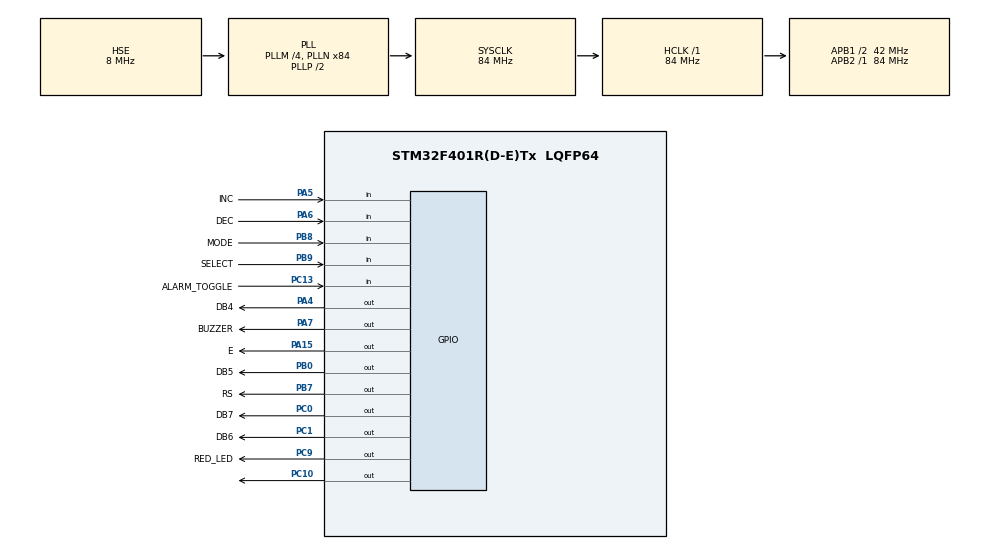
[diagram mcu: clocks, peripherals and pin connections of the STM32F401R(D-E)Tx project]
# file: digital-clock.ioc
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Mcu.Family=STM32F4
Mcu.Name=STM32F401R(D-E)Tx
Mcu.Package=LQFP64
NVIC.PriorityGroup=NVIC_PRIORITYGROUP_4
NVIC.RTC_Alarm_IRQn=true\:15\:0\:true\:false\:true\:true\:true\:true
NVIC.TIM5_IRQn=true\:0\:0\:false\:false\:true\:false\:true\:true
NVIC.TimeBase=TIM5_IRQn
NVIC.TimeBaseIP=TIM5
PA13.GPIO_Label=TMS
PA13.Signal=SYS_JTMS-SWDIO
PA14.GPIO_Label=TCK
PA14.Signal=SYS_JTCK-SWCLK
PA15.GPIO_Label=E
PA15.GPIO_PuPd=GPIO_PULLDOWN
PA15.Signal=GPIO_Output
PA2.GPIO_Label=USART_TX
PA2.GPIO_Mode=GPIO_MODE_AF_PP
PA2.GPIO_PuPd=GPIO_NOPULL
PA2.GPIO_Speed=GPIO_SPEED_FREQ_LOW
PA2.Signal=USART2_TX
PA3.GPIO_Label=USART_RX
PA3.GPIO_Mode=GPIO_MODE_AF_PP
PA3.GPIO_PuPd=GPIO_NOPULL
PA3.GPIO_Speed=GPIO_SPEED_FREQ_LOW
PA3.Signal=USART2_RX
PA4.GPIO_Label=DB4
PA4.GPIO_PuPd=GPIO_PULLDOWN
PA4.Signal=GPIO_Output
PA5.GPIO_Label=INC
PA5.GPIO_PuPd=GPIO_PULLDOWN
PA5.Signal=GPIO_Input
PA6.GPIO_Label=DEC
PA6.GPIO_PuPd=GPIO_PULLDOWN
PA6.Signal=GPIO_Input
PA7.GPIO_Label=BUZZER
PA7.GPIO_PuPd=GPIO_PULLDOWN
PA7.Signal=GPIO_Output
PB0.GPIO_Label=DB5
PB0.GPIO_PuPd=GPIO_PULLDOWN
PB0.Signal=GPIO_Output
PB3.GPIO_Label=SWO
PB3.Signal=SYS_JTDO-SWO
PB7.GPIO_Label=RS
PB7.GPIO_PuPd=GPIO_PULLDOWN
PB7.Signal=GPIO_Output
PB8.GPIO_Label=MODE
PB8.GPIO_PuPd=GPIO_PULLDOWN
PB8.Signal=GPIO_Input
PB9.GPIO_Label=SELECT
PB9.GPIO_PuPd=GPIO_PULLDOWN
PB9.Signal=GPIO_Input
PC0.GPIO_Label=DB7
PC0.GPIO_PuPd=GPIO_PULLDOWN
PC0.Signal=GPIO_Output
PC1.GPIO_Label=DB6
PC1.GPIO_PuPd=GPIO_PULLDOWN
PC1.Signal=GPIO_Output
PC10.GPIO_PuPd=GPIO_PULLDOWN
PC10.Signal=GPIO_Output
PC13-ANTI_TAMP.GPIO_Label=ALARM_TOGGLE
PC13-ANTI_TAMP.GPIO_PuPd=GPIO_PULLDOWN
PC13-ANTI_TAMP.Signal=GPIO_Input
PC14-OSC32_IN.Mode=LSE-External-Oscillator
PC14-OSC32_IN.Signal=RCC_OSC32_IN
PC15-OSC32_OUT.Mode=LSE-External-Oscillator
PC15-OSC32_OUT.Signal=RCC_OSC32_OUT
PC9.GPIO_Label=RED_LED
PC9.GPIO_ModeDefaultOutputPP=GPIO_MODE_OUTPUT_PP
PC9.GPIO_PuPd=GPIO_PULLDOWN
PC9.Signal=GPIO_Output
PH0\ -\ OSC_IN.Mode=HSE-External-Oscillator
PH0\ -\ OSC_IN.Signal=RCC_OSC_IN
PH1\ -\ OSC_OUT.Mode=HSE-External-Oscillator
PH1\ -\ OSC_OUT.Signal=RCC_OSC_OUT
ProjectManager.HeapSize=0x200
ProjectManager.StackSize=0x400
ProjectManager.TargetToolchain=STM32CubeIDE
RCC.48MHZClocksFreq_Value=24000000
RCC.AHBFreq_Value=84000000
RCC.APB1CLKDivider=RCC_HCLK_DIV2
RCC.APB1Freq_Value=42000000
RCC.APB1TimFreq_Value=84000000
RCC.APB2Freq_Value=84000000
RCC.APB2TimFreq_Value=84000000
RCC.CortexFreq_Value=84000000
RCC.HCLKFreq_Value=84000000
RCC.HSE_VALUE=8000000
RCC.HSI_VALUE=16000000
RCC.PLLM=4
RCC.PLLN=84
RCC.PLLQ=7
RCC.PLLSourceVirtual=RCC_PLLSOURCE_HSE
RCC.SYSCLKFreq_VALUE=84000000
RCC.SYSCLKSource=RCC_SYSCLKSOURCE_PLLCLK
RCC.VCOOutputFreq_Value=168000000
RTC.Alarm=RTC_ALARM_A
RTC.AlarmMaskDateWeekDay=RTC_ALARMMASK_DATEWEEKDAY
RTC.AlarmSubSecondMask=RTC_ALARMSUBSECONDMASK_NONE
RTC.Format=RTC_FORMAT_BIN
RTC.Seconds_A=5
TIM1.Prescaler=84
TIM9.Prescaler=84
VP_RTC_VS_RTC_Activate.Mode=RTC_Enabled
VP_RTC_VS_RTC_Alarm_A_Intern.Mode=Alarm A
VP_RTC_VS_RTC_Calendar.Mode=RTC_Calendar
VP_SYS_VS_tim5.Mode=TIM5
VP_TIM1_VS_ClockSourceINT.Mode=Internal
VP_TIM9_VS_ClockSourceINT.Mode=Internal
board=NUCLEO-F401RE

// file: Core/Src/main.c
/* USER CODE BEGIN Header */
/**
  ******************************************************************************
  * @file           : main.c
  * @brief          : Main program body
  ******************************************************************************
  * @attention
  *
  * Copyright (c) 2024 STMicroelectronics.
  * All rights reserved.
  *
  * This software is licensed under terms that can be found in the LICENSE file
  * in the root directory of this software component.
  * If no LICENSE file comes with this software, it is provided AS-IS.
  *
  ******************************************************************************
  */
/* USER CODE END Header */
#include "main.h"

/* USER CODE BEGIN PM */
#define DWT_CTRL			( *(volatile uint32_t*) (0xE0001000) )
/* USER CODE END PM */

RTC_HandleTypeDef hrtc;

TIM_HandleTypeDef htim1;
TIM_HandleTypeDef htim9;

/* USER CODE BEGIN PV */
TaskHandle_t printTaskHandle, startTimerTaskHandle, rtcUpdateTaskHandle, rtcSetTaskHandle, alarmSetTaskHandle, alarmStartTaskHandle, alarmBuzzerTaskHandle;
QueueHandle_t printQueueHandle;
TimerHandle_t printTimerHandle, alarmLedTimerHandle, alarmTimerHandle;

displayMode_t currMode = mDisplayRtc;
selected_t currSet = sHour;

RTC_DateTypeDef rtcDate;
RTC_TimeTypeDef rtcTime;

RTC_DateTypeDef setDate;
RTC_TimeTypeDef setTime;

RTC_AlarmTypeDef rtcAlarm;

uint8_t alarmOn = 0x1;

/* USER CODE END PV */

void SystemClock_Config(void);
static void MX_GPIO_Init(void);
static void MX_RTC_Init(void);
static void MX_TIM1_Init(void);
static void MX_TIM9_Init(void);
/* USER CODE BEGIN PFP */

void startTimerTaskHandler(void *parameters);
void printTaskHandler(void *parameters);
void rtcUpdateTaskHandler(void *parameters);
void rtcSetTaskHandler(void *parameters);

void printTimerCallback(TimerHandle_t xTimer);

void alarmTimerCallback(TimerHandle_t xTimer);
void alarmLedTimerCallback(TimerHandle_t xTimer);

void alarmSetTaskHandler(void *parameters);
void alarmStartTaskHandler(void *parameters);
void alarmBuzzerTaskHandler(void *parameters);

/* USER CODE END PFP */

int main(void)
{
  /* USER CODE BEGIN 1 */
  BaseType_t status; /* holds task creation status */
  /* USER CODE END 1 */

  /* MCU Configuration--------------------------------------------------------*/

  /* Reset of all peripherals, Initializes the Flash interface and the Systick. */
  HAL_Init();

  /* Configure the system clock */
  SystemClock_Config();

  /* Initialize all configured peripherals */
  MX_GPIO_Init();
  MX_RTC_Init();
  MX_TIM1_Init();
  MX_TIM9_Init();
  /* USER CODE BEGIN 2 */

  DWT_CTRL |= (1 << 0); //enable CYCCNT counter (cycle count counter)

  HAL_TIM_Base_Start(&htim1);
  HAL_TIM_Base_Start(&htim9);

  SEGGER_SYSVIEW_Conf();
  SEGGER_SYSVIEW_Start();

  /* create queues */
  printQueueHandle = xQueueCreate(PRINT_QUEUE_LEN, sizeof(size_t) ); /* size of size_t (32 bits) because print queue holds pointer to char (string) */
  configASSERT(printQueueHandle != NULL);

  /*create timers */
  printTimerHandle = xTimerCreate("Print_Timer", pdMS_TO_TICKS(RTC_SAMPLE_PERIOD), pdTRUE, NULL, printTimerCallback);

  alarmTimerHandle = xTimerCreate("Alarm_Timer", pdMS_TO_TICKS(ALARM_LEN), pdFALSE, NULL, alarmTimerCallback);
  alarmLedTimerHandle = xTimerCreate("LED_Timer", pdMS_TO_TICKS(ALARM_LED_PERIOD), pdTRUE, NULL, alarmLedTimerCallback);

  /* create tasks */
  status = xTaskCreate(startTimerTaskHandler, "Start_Timer_Task", 250, NULL, 2, &startTimerTaskHandle);
  configASSERT(status == pdPASS);

  status = xTaskCreate(printTaskHandler, "Print_Task", 250, NULL, 3, &printTaskHandle);
  configASSERT(status == pdPASS);

  status = xTaskCreate(rtcUpdateTaskHandler, "RTC_Update_Task", 250, NULL, 2, &rtcUpdateTaskHandle);
  configASSERT(status == pdPASS);

  status = xTaskCreate(rtcSetTaskHandler, "RTC_Set_Task", 250, NULL, 2, &rtcSetTaskHandle);
  configASSERT(status == pdPASS);

  status = xTaskCreate(alarmSetTaskHandler, "Alarm_Set_Task", 250, NULL, 2, &alarmSetTaskHandle);
  configASSERT(status == pdPASS);

  status = xTaskCreate(alarmStartTaskHandler, "Alarm_Start_Task", 250, NULL, 3, &alarmStartTaskHandle);
  configASSERT(status = pdPASS);

  status = xTaskCreate(alarmBuzzerTaskHandler, "Alarm_Buzzer_Task", 250, NULL, 0, &alarmBuzzerTaskHandle);
  configASSERT(status = pdPASS);

  lcdInit();

  vTaskStartScheduler();

  /* USER CODE END 2 */

  /* Infinite loop */
  while (1)
  {

  }
}

void SystemClock_Config(void)
{
  RCC_OscInitTypeDef RCC_OscInitStruct = {0};
  RCC_ClkInitTypeDef RCC_ClkInitStruct = {0};

  /** Configure the main internal regulator output voltage
  */
  __HAL_RCC_PWR_CLK_ENABLE();
  __HAL_PWR_VOLTAGESCALING_CONFIG(PWR_REGULATOR_VOLTAGE_SCALE2);

  /** Initializes the RCC Oscillators according to the specified parameters
  * in the RCC_OscInitTypeDef structure.
  */
  RCC_OscInitStruct.OscillatorType = RCC_OSCILLATORTYPE_LSI|RCC_OSCILLATORTYPE_HSE;
  RCC_OscInitStruct.HSEState = RCC_HSE_ON;
  RCC_OscInitStruct.LSIState = RCC_LSI_ON;
  RCC_OscInitStruct.PLL.PLLState = RCC_PLL_ON;
  RCC_OscInitStruct.PLL.PLLSource = RCC_PLLSOURCE_HSE;
  RCC_OscInitStruct.PLL.PLLM = 4;
  RCC_OscInitStruct.PLL.PLLN = 84;
  RCC_OscInitStruct.PLL.PLLP = RCC_PLLP_DIV2;
  RCC_OscInitStruct.PLL.PLLQ = 7;
  if (HAL_RCC_OscConfig(&RCC_OscInitStruct) != HAL_OK)
  {
    Error_Handler();
  }

  /** Initializes the CPU, AHB and APB buses clocks
  */
  RCC_ClkInitStruct.ClockType = RCC_CLOCKTYPE_HCLK|RCC_CLOCKTYPE_SYSCLK
                              |RCC_CLOCKTYPE_PCLK1|RCC_CLOCKTYPE_PCLK2;
  RCC_ClkInitStruct.SYSCLKSource = RCC_SYSCLKSOURCE_PLLCLK;
  RCC_ClkInitStruct.AHBCLKDivider = RCC_SYSCLK_DIV1;
  RCC_ClkInitStruct.APB1CLKDivider = RCC_HCLK_DIV2;
  RCC_ClkInitStruct.APB2CLKDivider = RCC_HCLK_DIV1;

  if (HAL_RCC_ClockConfig(&RCC_ClkInitStruct, FLASH_LATENCY_2) != HAL_OK)
  {
    Error_Handler();
  }
}

static void MX_RTC_Init(void)
{

  RTC_TimeTypeDef sTime = {0};
  RTC_DateTypeDef sDate = {0};
  RTC_AlarmTypeDef sAlarm = {0};

  /** Initialize RTC Only
  */
  hrtc.Instance = RTC;
  hrtc.Init.HourFormat = RTC_HOURFORMAT_24;
  hrtc.Init.AsynchPrediv = 127;
  hrtc.Init.SynchPrediv = 255;
  hrtc.Init.OutPut = RTC_OUTPUT_DISABLE;
  hrtc.Init.OutPutPolarity = RTC_OUTPUT_POLARITY_HIGH;
  hrtc.Init.OutPutType = RTC_OUTPUT_TYPE_OPENDRAIN;
  if (HAL_RTC_Init(&hrtc) != HAL_OK)
  {
    Error_Handler();
  }

  /** Initialize RTC and set the Time and Date
  */
  sTime.Hours = 0;
  sTime.Minutes = 0;
  sTime.Seconds = 0;
  sTime.DayLightSaving = RTC_DAYLIGHTSAVING_NONE;
  sTime.StoreOperation = RTC_STOREOPERATION_RESET;
  if (HAL_RTC_SetTime(&hrtc, &sTime, RTC_FORMAT_BIN) != HAL_OK)
  {
    Error_Handler();
  }
  sDate.WeekDay = RTC_WEEKDAY_MONDAY;
  sDate.Month = RTC_MONTH_JANUARY;
  sDate.Date = 1;
  sDate.Year = 0;

  if (HAL_RTC_SetDate(&hrtc, &sDate, RTC_FORMAT_BIN) != HAL_OK)
  {
    Error_Handler();
  }

  /** Enable the Alarm A
  */
  sAlarm.AlarmTime.Hours = 0;
  sAlarm.AlarmTime.Minutes = 0;
  sAlarm.AlarmTime.Seconds = 5;
  sAlarm.AlarmTime.SubSeconds = 0;
  sAlarm.AlarmTime.DayLightSaving = RTC_DAYLIGHTSAVING_NONE;
  sAlarm.AlarmTime.StoreOperation = RTC_STOREOPERATION_RESET;
  sAlarm.AlarmMask = RTC_ALARMMASK_DATEWEEKDAY;
  sAlarm.AlarmSubSecondMask = RTC_ALARMSUBSECONDMASK_NONE;
  sAlarm.AlarmDateWeekDaySel = RTC_ALARMDATEWEEKDAYSEL_DATE;
  sAlarm.AlarmDateWeekDay = 1;
  sAlarm.Alarm = RTC_ALARM_A;
  if (HAL_RTC_SetAlarm_IT(&hrtc, &sAlarm, RTC_FORMAT_BIN) != HAL_OK)
  {
    Error_Handler();
  }

}

static void MX_TIM1_Init(void)
{

  TIM_ClockConfigTypeDef sClockSourceConfig = {0};
  TIM_MasterConfigTypeDef sMasterConfig = {0};

  htim1.Instance = TIM1;
  htim1.Init.Prescaler = 84;
  htim1.Init.CounterMode = TIM_COUNTERMODE_UP;
  htim1.Init.Period = 65535;
  htim1.Init.ClockDivision = TIM_CLOCKDIVISION_DIV1;
  htim1.Init.RepetitionCounter = 0;
  htim1.Init.AutoReloadPreload = TIM_AUTORELOAD_PRELOAD_DISABLE;
  if (HAL_TIM_Base_Init(&htim1) != HAL_OK)
  {
    Error_Handler();
  }
  sClockSourceConfig.ClockSource = TIM_CLOCKSOURCE_INTERNAL;
  if (HAL_TIM_ConfigClockSource(&htim1, &sClockSourceConfig) != HAL_OK)
  {
    Error_Handler();
  }
  sMasterConfig.MasterOutputTrigger = TIM_TRGO_RESET;
  sMasterConfig.MasterSlaveMode = TIM_MASTERSLAVEMODE_DISABLE;
  if (HAL_TIMEx_MasterConfigSynchronization(&htim1, &sMasterConfig) != HAL_OK)
  {
    Error_Handler();
  }

}

static void MX_TIM9_Init(void)
{

  TIM_ClockConfigTypeDef sClockSourceConfig = {0};

  htim9.Instance = TIM9;
  htim9.Init.Prescaler = 84;
  htim9.Init.CounterMode = TIM_COUNTERMODE_UP;
  htim9.Init.Period = 65535;
  htim9.Init.ClockDivision = TIM_CLOCKDIVISION_DIV1;
  htim9.Init.AutoReloadPreload = TIM_AUTORELOAD_PRELOAD_DISABLE;
  if (HAL_TIM_Base_Init(&htim9) != HAL_OK)
  {
    Error_Handler();
  }
  sClockSourceConfig.ClockSource = TIM_CLOCKSOURCE_INTERNAL;
  if (HAL_TIM_ConfigClockSource(&htim9, &sClockSourceConfig) != HAL_OK)
  {
    Error_Handler();
  }

}

static void MX_GPIO_Init(void)
{
  GPIO_InitTypeDef GPIO_InitStruct = {0};

  /* GPIO Ports Clock Enable */
  __HAL_RCC_GPIOC_CLK_ENABLE();
  __HAL_RCC_GPIOH_CLK_ENABLE();
  __HAL_RCC_GPIOA_CLK_ENABLE();
  __HAL_RCC_GPIOB_CLK_ENABLE();

  /*Configure GPIO pin Output Level */
  HAL_GPIO_WritePin(GPIOC, DB7_Pin|DB6_Pin|RED_LED_Pin|GPIO_PIN_10, GPIO_PIN_RESET);

  /*Configure GPIO pin Output Level */
  HAL_GPIO_WritePin(GPIOA, DB4_Pin|BUZZER_Pin|E_Pin, GPIO_PIN_RESET);

  /*Configure GPIO pin Output Level */
  HAL_GPIO_WritePin(GPIOB, DB5_Pin|RS_Pin, GPIO_PIN_RESET);

  /*Configure GPIO pin : ALARM_TOGGLE_Pin */
  GPIO_InitStruct.Pin = ALARM_TOGGLE_Pin;
  GPIO_InitStruct.Mode = GPIO_MODE_INPUT;
  GPIO_InitStruct.Pull = GPIO_PULLDOWN;
  HAL_GPIO_Init(ALARM_TOGGLE_GPIO_Port, &GPIO_InitStruct);

  /*Configure GPIO pins : DB7_Pin DB6_Pin RED_LED_Pin PC10 */
  GPIO_InitStruct.Pin = DB7_Pin|DB6_Pin|RED_LED_Pin|GPIO_PIN_10;
  GPIO_InitStruct.Mode = GPIO_MODE_OUTPUT_PP;
  GPIO_InitStruct.Pull = GPIO_PULLDOWN;
  GPIO_InitStruct.Speed = GPIO_SPEED_FREQ_LOW;
  HAL_GPIO_Init(GPIOC, &GPIO_InitStruct);

  /*Configure GPIO pins : USART_TX_Pin USART_RX_Pin */
  GPIO_InitStruct.Pin = USART_TX_Pin|USART_RX_Pin;
  GPIO_InitStruct.Mode = GPIO_MODE_AF_PP;
  GPIO_InitStruct.Pull = GPIO_NOPULL;
  GPIO_InitStruct.Speed = GPIO_SPEED_FREQ_LOW;
  GPIO_InitStruct.Alternate = GPIO_AF7_USART2;
  HAL_GPIO_Init(GPIOA, &GPIO_InitStruct);

  /*Configure GPIO pins : DB4_Pin BUZZER_Pin E_Pin */
  GPIO_InitStruct.Pin = DB4_Pin|BUZZER_Pin|E_Pin;
  GPIO_InitStruct.Mode = GPIO_MODE_OUTPUT_PP;
  GPIO_InitStruct.Pull = GPIO_PULLDOWN;
  GPIO_InitStruct.Speed = GPIO_SPEED_FREQ_LOW;
  HAL_GPIO_Init(GPIOA, &GPIO_InitStruct);

  /*Configure GPIO pins : INC_Pin DEC_Pin */
  GPIO_InitStruct.Pin = INC_Pin|DEC_Pin;
  GPIO_InitStruct.Mode = GPIO_MODE_INPUT;
  GPIO_InitStruct.Pull = GPIO_PULLDOWN;
  HAL_GPIO_Init(GPIOA, &GPIO_InitStruct);

  /*Configure GPIO pins : DB5_Pin RS_Pin */
  GPIO_InitStruct.Pin = DB5_Pin|RS_Pin;
  GPIO_InitStruct.Mode = GPIO_MODE_OUTPUT_PP;
  GPIO_InitStruct.Pull = GPIO_PULLDOWN;
  GPIO_InitStruct.Speed = GPIO_SPEED_FREQ_LOW;
  HAL_GPIO_Init(GPIOB, &GPIO_InitStruct);

  /*Configure GPIO pins : MODE_Pin SELECT_Pin */
  GPIO_InitStruct.Pin = MODE_Pin|SELECT_Pin;
  GPIO_InitStruct.Mode = GPIO_MODE_INPUT;
  GPIO_InitStruct.Pull = GPIO_PULLDOWN;
  HAL_GPIO_Init(GPIOB, &GPIO_InitStruct);

}

/* USER CODE BEGIN 4 */

void delayUs(uint16_t us){
	__HAL_TIM_SET_COUNTER(&htim9, 0);
	while(__HAL_TIM_GET_COUNTER(&htim9) < us);
}

void HAL_RTC_AlarmAEventCallback(RTC_HandleTypeDef *hrtc){
	if (alarmOn){
		BaseType_t isYieldRequired;
		isYieldRequired = xTaskResumeFromISR(alarmStartTaskHandle);
		portYIELD_FROM_ISR(isYieldRequired);
	}

}

/* USER CODE END 4 */

void HAL_TIM_PeriodElapsedCallback(TIM_HandleTypeDef *htim)
{
  if (htim->Instance == TIM5) {
    HAL_IncTick();
  }
}

void Error_Handler(void)
{
  __disable_irq();
  while (1)
  {
  }
}
